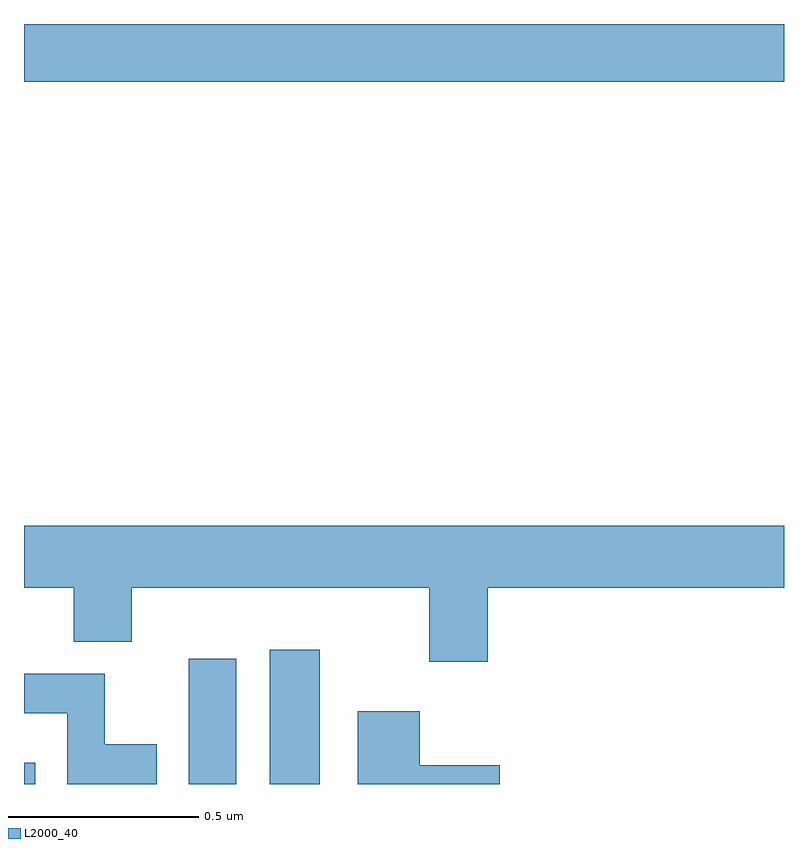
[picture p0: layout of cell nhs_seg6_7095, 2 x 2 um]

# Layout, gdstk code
import gdstk
lib = gdstk.Library(unit=1e-6, precision=1e-09)
def R(c, l, rs):  # rectangles x0, y0, x1, y1
    for r in rs: c.add(gdstk.rectangle(r[:2], r[2:], *l))
def P(c, l, *ps):  # polygons
    for p in ps: c.add(gdstk.Polygon(p, *l))
L2000_40 = (2000, 40)

nhs_seg6_7095 = lib.new_cell('nhs_seg6_7095')
R(nhs_seg6_7095, L2000_40, [(204,933.5,204.029,933.556), (204.434,933.5,204.559,933.829), (204.647,933.5,204.778,933.853), (204,935.348,206,935.5)])
P(nhs_seg6_7095, L2000_40, [(205.22,934.016),(206,934.016),(206,934.18),(204,934.18),(204,934.016),(204.131,934.016),(204.131,933.875),(204.284,933.875),(204.284,934.016),(205.067,934.016),(205.067,933.822),(205.22,933.822)],
  [(204.349,933.604),(204.213,933.604),(204.213,933.79),(204,933.79),(204,933.686),(204.114,933.686),(204.114,933.5),(204.349,933.5)],
  [(205.252,933.55),(205.042,933.55),(205.042,933.691),(204.878,933.691),(204.878,933.5),(205.252,933.5)])

lib.write_gds('nhs_seg6_7095.gds')
